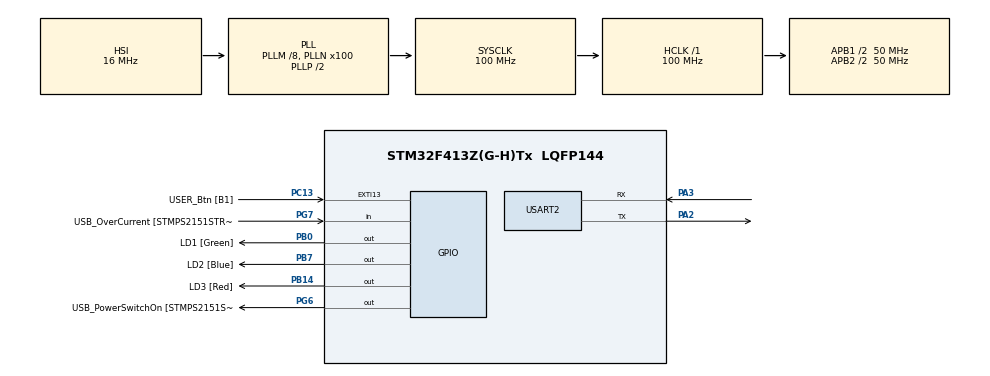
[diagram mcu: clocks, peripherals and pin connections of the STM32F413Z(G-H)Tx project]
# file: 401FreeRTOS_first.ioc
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Mcu.Family=STM32F4
Mcu.Name=STM32F413Z(G-H)Tx
Mcu.Package=LQFP144
NVIC.PriorityGroup=NVIC_PRIORITYGROUP_4
NVIC.TIM6_DAC_IRQn=true\:15\:0\:false\:false\:true\:false\:true\:true
NVIC.TimeBase=TIM6_DAC_IRQn
NVIC.TimeBaseIP=TIM6
PA10.GPIO_Label=USB_ID
PA10.Signal=USB_OTG_FS_ID
PA11.GPIO_Label=USB_DM
PA11.Signal=USB_OTG_FS_DM
PA12.GPIO_Label=USB_DP
PA12.Signal=USB_OTG_FS_DP
PA13.GPIO_Label=TMS
PA13.Mode=Trace_Asynchronous_SW
PA13.Signal=SYS_JTMS-SWDIO
PA14.GPIO_Label=TCK
PA14.Mode=Trace_Asynchronous_SW
PA14.Signal=SYS_JTCK-SWCLK
PA2.Mode=Asynchronous
PA2.Signal=USART2_TX
PA3.Mode=Asynchronous
PA3.Signal=USART2_RX
PA8.GPIO_Label=USB_SOF [TP1]
PA8.Signal=USB_OTG_FS_SOF
PA9.GPIO_Label=USB_VBUS
PA9.Signal=USB_OTG_FS_VBUS
PB0.GPIO_Label=LD1 [Green]
PB0.Signal=GPIO_Output
PB14.GPIO_Label=LD3 [Red]
PB14.Signal=GPIO_Output
PB3.GPIO_Label=SWO
PB3.Mode=Trace_Asynchronous_SW
PB3.Signal=SYS_JTDO-SWO
PB7.GPIO_Label=LD2 [Blue]
PB7.Signal=GPIO_Output
PC13.GPIO_Label=USER_Btn [B1]
PC13.Signal=GPXTI13
PC14-OSC32_IN.Signal=RCC_OSC32_IN
PC15-OSC32_OUT.Signal=RCC_OSC32_OUT
PD8.GPIO_Label=STLK_RX [STM32F103CBT6_PA3]
PD8.Signal=USART3_TX
PD9.GPIO_Label=STLK_TX [STM32F103CBT6_PA2]
PD9.Signal=USART3_RX
PG6.GPIO_Label=USB_PowerSwitchOn [STMPS2151STR_EN]
PG6.Signal=GPIO_Output
PG7.GPIO_Label=USB_OverCurrent [STMPS2151STR_FAULT]
PG7.Signal=GPIO_Input
PH0\ -\ OSC_IN.GPIO_Label=MCO
PH0\ -\ OSC_IN.Signal=RCC_OSC_IN
PH1\ -\ OSC_OUT.Signal=RCC_OSC_OUT
ProjectManager.HeapSize=0x200
ProjectManager.StackSize=0x400
ProjectManager.TargetToolchain=STM32CubeIDE
RCC.48MHZClocksFreq_Value=24000000
RCC.AHBFreq_Value=100000000
RCC.APB1CLKDivider=RCC_HCLK_DIV2
RCC.APB1Freq_Value=50000000
RCC.APB1TimFreq_Value=100000000
RCC.APB2CLKDivider=RCC_HCLK_DIV2
RCC.APB2Freq_Value=50000000
RCC.APB2TimFreq_Value=100000000
RCC.CortexFreq_Value=100000000
RCC.HCLKFreq_Value=100000000
RCC.HSE_VALUE=8000000
RCC.HSI_VALUE=16000000
RCC.PLLM=8
RCC.PLLMUL=RCC_PLL_MUL9
RCC.PLLN=100
RCC.PRESCALERUSB=RCC_USBCLKSOURCE_PLL_DIV1_5
RCC.SYSCLKFreq_VALUE=100000000
RCC.SYSCLKSource=RCC_SYSCLKSOURCE_PLLCLK
RCC.SYSCLKSourceVirtual=RCC_SYSCLKSOURCE_PLLCLK
RCC.USBFreq_Value=100000000
RCC.VCOOutputFreq_Value=200000000
USART2.VirtualMode=VM_ASYNC
VP_SYS_VS_tim6.Mode=TIM6
board=NUCLEO-F413ZH

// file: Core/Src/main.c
/* USER CODE BEGIN Header */
/**
  ******************************************************************************
  * @file           : main.c
  * @brief          : Main program body
  ******************************************************************************
  * @attention
  *
  * Copyright (c) 2024 STMicroelectronics.
  * All rights reserved.
  *
  * This software is licensed under terms that can be found in the LICENSE file
  * in the root directory of this software component.
  * If no LICENSE file comes with this software, it is provided AS-IS.
  *
  ******************************************************************************
  */
/* USER CODE END Header */
#include "main.h"

/* USER CODE BEGIN Includes */
#include <stdio.h>
#include "FreeRTOS.h"
#include "task.h"
/* USER CODE END Includes */

UART_HandleTypeDef huart2;

/* USER CODE BEGIN PV */
#define DWT_CTRL (*(volatile uint32_t*)0xE0001000)
/* USER CODE END PV */

void SystemClock_Config(void);
static void MX_GPIO_Init(void);
static void MX_USART2_UART_Init(void);
/* USER CODE BEGIN PFP */

static void task1_handler(void* parameters);
static void task2_handler(void* parameters);

extern void SEGGER_UART_init(U32 baud);

/* USER CODE END PFP */

int main(void)
{

  /* USER CODE BEGIN 1 */
	TaskHandle_t task1_handle;
	TaskHandle_t task2_handle;

	BaseType_t status;

  /* USER CODE END 1 */

  /* MCU Configuration--------------------------------------------------------*/

  /* Reset of all peripherals, Initializes the Flash interface and the Systick. */
  HAL_Init();

  /* Configure the system clock */
  SystemClock_Config();

  /* Initialize all configured peripherals */
  MX_GPIO_Init();
  MX_USART2_UART_Init();
  /* USER CODE BEGIN 2 */

  //Enable the CYCCNT counter
  DWT_CTRL |= (1<<0);

  //SEGGER_UART_init(50000);

  SEGGER_SYSVIEW_Conf();

  SEGGER_SYSVIEW_Start();

  status = xTaskCreate(task1_handler, "Task-1", 200, "Hello world from Task-1", 2, &task1_handle);

  configASSERT(status == pdPASS);

  status = xTaskCreate(task2_handler, "Task-2", 200, "Hello world from Task-2", 2, &task2_handle);

  configASSERT(status == pdPASS);

  //Start the FreeRTOS scheduler
  vTaskStartScheduler();

  //if the control comes here, then the launch of the scheduler has failed due to insufficient memory in heap

  /* USER CODE END 2 */

  /* Infinite loop */
  while (1)
  {

  }
}

void SystemClock_Config(void)
{
  RCC_OscInitTypeDef RCC_OscInitStruct = {0};
  RCC_ClkInitTypeDef RCC_ClkInitStruct = {0};

  /** Configure the main internal regulator output voltage
  */
  __HAL_RCC_PWR_CLK_ENABLE();
  __HAL_PWR_VOLTAGESCALING_CONFIG(PWR_REGULATOR_VOLTAGE_SCALE1);

  /** Initializes the RCC Oscillators according to the specified parameters
  * in the RCC_OscInitTypeDef structure.
  */
  RCC_OscInitStruct.OscillatorType = RCC_OSCILLATORTYPE_HSI;
  RCC_OscInitStruct.HSIState = RCC_HSI_ON;
  RCC_OscInitStruct.HSICalibrationValue = RCC_HSICALIBRATION_DEFAULT;
  RCC_OscInitStruct.PLL.PLLState = RCC_PLL_ON;
  RCC_OscInitStruct.PLL.PLLSource = RCC_PLLSOURCE_HSI;
  RCC_OscInitStruct.PLL.PLLM = 8;
  RCC_OscInitStruct.PLL.PLLN = 100;
  RCC_OscInitStruct.PLL.PLLP = RCC_PLLP_DIV2;
  RCC_OscInitStruct.PLL.PLLQ = 2;
  RCC_OscInitStruct.PLL.PLLR = 2;
  if (HAL_RCC_OscConfig(&RCC_OscInitStruct) != HAL_OK)
  {
    Error_Handler();
  }

  /** Initializes the CPU, AHB and APB buses clocks
  */
  RCC_ClkInitStruct.ClockType = RCC_CLOCKTYPE_HCLK|RCC_CLOCKTYPE_SYSCLK
                              |RCC_CLOCKTYPE_PCLK1|RCC_CLOCKTYPE_PCLK2;
  RCC_ClkInitStruct.SYSCLKSource = RCC_SYSCLKSOURCE_PLLCLK;
  RCC_ClkInitStruct.AHBCLKDivider = RCC_SYSCLK_DIV1;
  RCC_ClkInitStruct.APB1CLKDivider = RCC_HCLK_DIV2;
  RCC_ClkInitStruct.APB2CLKDivider = RCC_HCLK_DIV2;

  if (HAL_RCC_ClockConfig(&RCC_ClkInitStruct, FLASH_LATENCY_3) != HAL_OK)
  {
    Error_Handler();
  }
}

static void MX_USART2_UART_Init(void)
{

  huart2.Instance = USART2;
  huart2.Init.BaudRate = 115200;
  huart2.Init.WordLength = UART_WORDLENGTH_8B;
  huart2.Init.StopBits = UART_STOPBITS_1;
  huart2.Init.Parity = UART_PARITY_NONE;
  huart2.Init.Mode = UART_MODE_TX_RX;
  huart2.Init.HwFlowCtl = UART_HWCONTROL_NONE;
  huart2.Init.OverSampling = UART_OVERSAMPLING_16;
  if (HAL_UART_Init(&huart2) != HAL_OK)
  {
    Error_Handler();
  }

}

static void MX_GPIO_Init(void)
{
  GPIO_InitTypeDef GPIO_InitStruct = {0};

  /* GPIO Ports Clock Enable */
  __HAL_RCC_GPIOC_CLK_ENABLE();
  __HAL_RCC_GPIOH_CLK_ENABLE();
  __HAL_RCC_GPIOA_CLK_ENABLE();
  __HAL_RCC_GPIOB_CLK_ENABLE();
  __HAL_RCC_GPIOD_CLK_ENABLE();
  __HAL_RCC_GPIOG_CLK_ENABLE();

  /*Configure GPIO pin Output Level */
  HAL_GPIO_WritePin(GPIOB, LD1_Pin|LD3_Pin|LD2_Pin, GPIO_PIN_RESET);

  /*Configure GPIO pin Output Level */
  HAL_GPIO_WritePin(USB_PowerSwitchOn_GPIO_Port, USB_PowerSwitchOn_Pin, GPIO_PIN_RESET);

  /*Configure GPIO pin : USER_Btn_Pin */
  GPIO_InitStruct.Pin = USER_Btn_Pin;
  GPIO_InitStruct.Mode = GPIO_MODE_IT_RISING;
  GPIO_InitStruct.Pull = GPIO_NOPULL;
  HAL_GPIO_Init(USER_Btn_GPIO_Port, &GPIO_InitStruct);

  /*Configure GPIO pins : LD1_Pin LD3_Pin LD2_Pin */
  GPIO_InitStruct.Pin = LD1_Pin|LD3_Pin|LD2_Pin;
  GPIO_InitStruct.Mode = GPIO_MODE_OUTPUT_PP;
  GPIO_InitStruct.Pull = GPIO_NOPULL;
  GPIO_InitStruct.Speed = GPIO_SPEED_FREQ_LOW;
  HAL_GPIO_Init(GPIOB, &GPIO_InitStruct);

  /*Configure GPIO pins : STLK_RX_Pin STLK_TX_Pin */
  GPIO_InitStruct.Pin = STLK_RX_Pin|STLK_TX_Pin;
  GPIO_InitStruct.Mode = GPIO_MODE_AF_PP;
  GPIO_InitStruct.Pull = GPIO_NOPULL;
  GPIO_InitStruct.Speed = GPIO_SPEED_FREQ_VERY_HIGH;
  GPIO_InitStruct.Alternate = GPIO_AF7_USART3;
  HAL_GPIO_Init(GPIOD, &GPIO_InitStruct);

  /*Configure GPIO pin : USB_PowerSwitchOn_Pin */
  GPIO_InitStruct.Pin = USB_PowerSwitchOn_Pin;
  GPIO_InitStruct.Mode = GPIO_MODE_OUTPUT_PP;
  GPIO_InitStruct.Pull = GPIO_NOPULL;
  GPIO_InitStruct.Speed = GPIO_SPEED_FREQ_LOW;
  HAL_GPIO_Init(USB_PowerSwitchOn_GPIO_Port, &GPIO_InitStruct);

  /*Configure GPIO pin : USB_OverCurrent_Pin */
  GPIO_InitStruct.Pin = USB_OverCurrent_Pin;
  GPIO_InitStruct.Mode = GPIO_MODE_INPUT;
  GPIO_InitStruct.Pull = GPIO_NOPULL;
  HAL_GPIO_Init(USB_OverCurrent_GPIO_Port, &GPIO_InitStruct);

  /*Configure GPIO pins : USB_SOF_Pin USB_ID_Pin USB_DM_Pin USB_DP_Pin */
  GPIO_InitStruct.Pin = USB_SOF_Pin|USB_ID_Pin|USB_DM_Pin|USB_DP_Pin;
  GPIO_InitStruct.Mode = GPIO_MODE_AF_PP;
  GPIO_InitStruct.Pull = GPIO_NOPULL;
  GPIO_InitStruct.Speed = GPIO_SPEED_FREQ_VERY_HIGH;
  GPIO_InitStruct.Alternate = GPIO_AF10_OTG_FS;
  HAL_GPIO_Init(GPIOA, &GPIO_InitStruct);

}

/* USER CODE BEGIN 4 */

static void task1_handler(void* parameters){
	char msg[100];
	while(1){
		//printf("%s\n", (char*)parameters);
		snprintf(msg,100,(char*)parameters);
		SEGGER_SYSVIEW_PrintfTarget(msg);
		taskYIELD();
	}
}

static void task2_handler(void* parameters){
	char msg[100];
		while(1){
			//printf("%s\n", (char*)parameters);
			snprintf(msg,100,(char*)parameters);
			SEGGER_SYSVIEW_PrintfTarget(msg);
			taskYIELD();
	}
}

/* USER CODE END 4 */

void HAL_TIM_PeriodElapsedCallback(TIM_HandleTypeDef *htim)
{
  if (htim->Instance == TIM6) {
    HAL_IncTick();
  }
}

void Error_Handler(void)
{
  __disable_irq();
  while (1)
  {
  }
}
